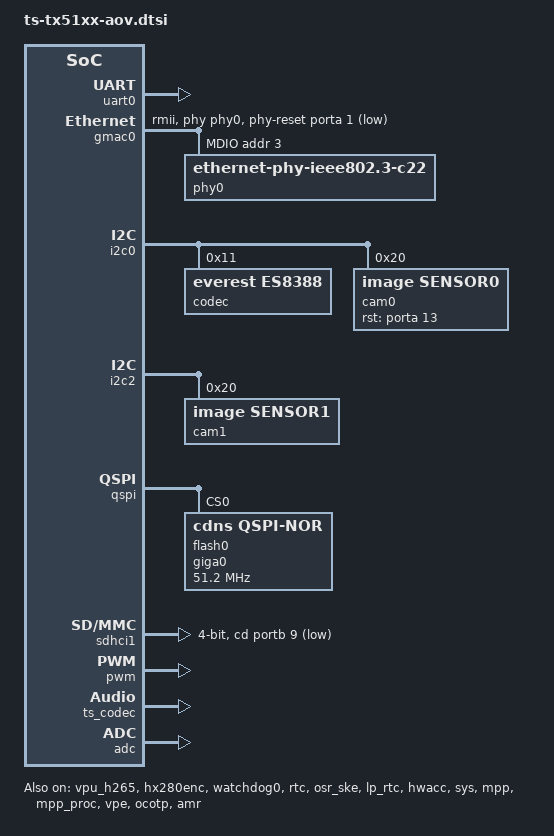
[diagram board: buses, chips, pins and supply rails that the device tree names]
// SPDX-License-Identifier: GPL-2.0+
/*
 * dts file for tsingmicro tx51xx
 *
 * Copyright 2022 Beijing Tsingmicro Intelligent Technology Co.,Ltd.
 *
 */

#include "ts-tx5112.dtsi"
#include "ts-tx5112-clk.dtsi"
#include "ts-tx5112-reset.dtsi"
#include "ts-tx51xx-aov-pinctrl.dtsi"

/ {
	chosen {
		/*bootargs = "console=ttyS0,115200n8 initrd=0xc4000000,4M init=/linuxrc
		 * root=/dev/ram0 rw rootfstype=ext4 rootwait ignore_loglevel earlycon";
		 */
		bootargs = "console=ttyS0,115200n8 earlycon";
		/*bootargs = "console=ttyS0,115200n8 ignore_loglevel";
		 *bootargs = "root=/dev/ram0 rw ramdisk=8192 initrd=0x41000000,8M
		 *console=ttyS0,115200n8 init=/linuxrc";
		 */
		stdout-path = "serial0:115200";
	};

	sound {
		status = "disabled";
		compatible = "ts-es8388,tx5112";
		model = "ts-audio-es8388";
		i2s-controller = <&i2s>;
		audio-codec = <&codec>;
		//codec-master;
	};

};

&systimer0_0 {
	status = "disabled";
};

&uart0 {
	status = "okay";
};

&uart1 {
	pinctrl-names = "default";
	pinctrl-0 = <&uart1_pinctrl>;
	status = "disabled";
};

&gpio0 {
	pinctrl-names = "default";
	pinctrl-0 = <&ir_cut_gpio_pinctrl>;
	status = "okay";
};

&gpio1 {
	pinctrl-names = "default";
	// pinctrl-0 = <&gpiob11_pinctrl>;
	status = "okay";
};

&gpio2 {
	status = "okay";
};

&usart0 {
	status = "disabled";
	pinctrl-names = "default";
	pinctrl-0 = <&usi0_pinctrl>;
};

#if 0


&usart1 {
	status = "disabled";
	pinctrl-names = "default";
	pinctrl-0 = <&usi1_pinctrl>;
};

&smu{
	status = "okay";
};

/*
 *&smmu {
 *	status = "disabled";
 *};
 */
#endif

&rne_dma {
	status = "okay";
};

&uspi0 {
	status = "disabled";
	#address-cells = <0x1>;
	#size-cells = <0x0>;
	pinctrl-names = "default";
	pinctrl-0 = <&usi0_pinctrl &gpiob7_pinctrl>;
	uspics-gpios = <&portb 7 GPIO_ACTIVE_HIGH>;
	uspi0_flash0:w25q64@00 {
		status = "okay";
		compatible = "winbond,w25q64","jedec,spi-nor";
		reg = <0>;
		spi-max-frequency = <8000000>;
		#address-cells = <1>;
		#size-cells = <1>;
		partition@usi2spi-test0{
			label = "test0";
			reg = <0x0 0x800000>; /* 8MB */
		};

	};
};

&gmac0 {
	status = "okay";
	phy-handle = <&phy0>;
	phy-mode = "rmii";
	pinctrl-names = "default";
	pinctrl-0 = <&mac0_pinctrl0>, <&mac0_pinctrl1>, <&mac0_pinctrl_clk>, <&mac0_rst_pinctrl>;
	phy-reset-gpios = <&porta 1 GPIO_ACTIVE_LOW>;
	mdio {
		#address-cells = <0x1>;
		#size-cells = <0x0>;
		phy0: phy@0 {
			compatible = "ethernet-phy-ieee802.3-c22";
			device_type = "ethernet-phy";
			reg = <0x3>;
		};
	};
};

&i2c0 {
	status = "okay";
	pinctrl-names = "default";
	pinctrl-0 = <&i2c0_pinctrl_0>;

	codec: es8388@11 {
		compatible = "everest,es8388";
		clocks = <&misc_clk>;
		reg = <0x11>;
	};

	cam0: imgsensor0@20 {
		compatible = "image,sensor0";
		reg = <0x20>;
		pinctrl-names = "default";
		pinctrl-0 = <&chip_out0_pinctrl>,<&gpioa13_pinctrl>;
		rst-gpios = <&porta 13 GPIO_ACTIVE_HIGH>;

		clocks = <&ts_clk TS_CLK_TX5112_CHIP_OCLK_I0>;
		clock-names = "mclk";
		assigned-clocks = <&ts_clk TS_CLK_TX5112_CHIP_OCLK_I0>;
		assigned-clock-rates = <24000000>;
	};
};

&i2c2 {
	status = "okay";
	pinctrl-names = "default";
	pinctrl-0 = <&i2c2_pinctrl>;

	cam1: imgsensor1@20 {
		compatible = "image,sensor1";
		reg = <0x20>;

		// pinctrl-names = "default";
		// pinctrl-0 = <&gpioa13_pinctrl>;
		// rst-gpios = <&porta 13 GPIO_ACTIVE_HIGH>;

		clocks = <&ts_clk TS_CLK_TX5112_CHIP_OCLK_I0>;
		clock-names = "mclk";
	};
};

&i2s {
	status = "disabled";
	dmas = <&dwahbdma1 0x5 2 1 &dwahbdma1 0x4 1 0>;
	dma-names = "tx", "rx";
	pinctrl-names = "default";
	pinctrl-0 = <&i2s_pinctrl_1>;
};

&ui2c0 {
	status = "disabled";
	pinctrl-names = "default";
	pinctrl-0 = <&usi0_pinctrl>;
	eeprom1: eeprom1@50 {
		compatible = "atmel,24c32";
		reg = <0x50>;
		pagesize = <32>;
	};
};

#if 0
&ui2c1 {
	status = "disabled";
	pinctrl-names = "default";
	pinctrl-0 = <&usi1_pinctrl>;
};


&i2c3 {
	status = "disabled";
};


&dp0 {
	status = "okay";
	port {
		dp0_output: endpoint {
			remote-endpoint = <&hdmi_virt_input>;
		};
	};
};
#endif

&i2c1 {
	status = "disabled";
	pinctrl-names = "default";
	pinctrl-0 = <&i2c1_pinctrl>;
};

&vpu_h265 {
	status = "okay";
	/*memory-region = <&vpu_reserved>;*/
};

&hx280enc {
	status = "okay";
};

&qspi {
	/* qspi and sdhci0 cannot coexist */
	status = "okay";
	page-size = <256>;
	block-size = <16>;
	#address-cells = <1>;
	#size-cells = <0>;

#if 0
	nand1:spi-nand@0 {
		status = "okay";
		compatible = "spi-nand";
		reg = <0>; /* CS0 */
		//spi-max-frequency = <40000000>;
		spi-max-frequency = <20000000>;
		page-size = <2048>;
		block-size = <131072>;
		spi-rx-bus-width = <4>;
		spi-tx-bus-width = <4>;
		cdns,read-delay = <0>;
		cdns,tshsl-ns = <0>;
		cdns,tsd2d-ns = <0>;
		cdns,tchsh-ns = <0>;
		cdns,tslch-ns = <0>;
		partitions {
			compatible = "fixed-partitions";
			#address-cells = <1>;
			#size-cells = <1>;

			/* reserved for future boot direct from NAND flash
			 * (this would use the same layout as the 8MiB NOR flash)
			 */
			partition@0 {
				label = "nand-boot-reserved";
				reg = <0 0x800000>;
			};

			/* recovery / install environment */
			partition@800000 {
				label = "recovery";
				reg = <0x800000 0x2000000>;
			};

			/* ubia (first OpenWrt) - a/b names to prevent confusion with ubi0/1/etc. */
			partition@2800000 {
				label = "ubia";
				reg = <0x2800000 0x3C00000>;
			};
#if 0
			/* ubib (second OpenWrt) */
			partition@6400000 {
				label = "ubib";
				reg = <0x6400000 0x3C00000>;
			};
#endif
		};
	};
#else
	flash0: giga0@0 {
		reg = <0>; /* CS0 */
		compatible = "cdns,qspi-nor";
		cdns,read-delay = <2>;
		cdns,tshsl-ns = <40>;
		cdns,tsd2d-ns = <50>;
		cdns,tchsh-ns = <3>;
		cdns,tslch-ns = <4>;
		spi-max-frequency = <51200000>;
		#address-cells = <1>;
		#size-cells = <1>;
		spi-rx-bus-width = <4>;
		spi-tx-bus-width = <4>;
	};
#endif
};


&sdhci0 {
	/* qspi and sdhci0 cannot coexist */
	status = "disabled";
	max-frequency = <25000000>;
	//no-1-8-v;
	//bus-width = <4>;
	//cap-sd-highspeed;
	pinctrl-names = "default";
	pinctrl-0 = <&emmc0_pinctrl>;
};

&sdhci1 {
	status = "okay";
	max-frequency = <25000000>;
	no-1-8-v;
	bus-width = <4>;
	cap-sd-highspeed;
	pinctrl-names = "default";
	pinctrl-0 = <&mshc1_pinctrl &emmc1_pinctrl>;
	card-detect-delay = <200>;
	cd-gpios = <&portb 9 GPIO_ACTIVE_LOW>;
};

&spi0 {
	status = "disabled";
	#address-cells = <1>;
	#size-cells = <0>;
	pinctrl-names = "default";
	pinctrl-0 = <&spi0_pinctrl &gpiob4_pinctrl>;
	cs-gpios = <&portb 4 GPIO_ACTIVE_LOW>;
	spi0_flash0: wnbnd0@0 {
		compatible = "jedec,spi-nor";
		spi-max-frequency = <400000>;
		reg = <0>;
		#address-cells = <1>;
		#size-cells = <1>;
		partition@spi-test0{
			label = "test0";
			reg = <0x0 0x800000>; /* 8MB */
		};
	};
};

&watchdog0 {
	status = "okay";
};

&pwm {
	status = "okay";
};

&rtc {
	status = "okay";
};

&osr_ske {
	status = "okay";
};

&lp_rtc {
	status = "okay";
};

&pinctrl {
	status = "okay";
	// init-function = "init";
};

&hwacc {
	status = "okay";
};

&dwahbdma0 {
	status = "okay";
};

&dwahbdma1 {
	status = "okay";
};

&dw_axi_dmac {
	status = "okay";
};

&pdmic {
	status = "disabled";
	pinctrl-names = "default";
	pinctrl-0 = <&pdmic_pinctrl_0>;
	ts,model = "PDMIC @ tsm-tx5215-fpga";
	ts,mic-min-freq = <1024000>;
	ts,mic-max-freq = <3072000>;
	ts,mic-offset = <0x0>;
	dmas = <&dwahbdma1 0x6 1 0>;
	dma-names = "rx";
};

&ts_codec {
	status = "okay";
	ts,model = "ts-codec";
	dmas = <&dwahbdma1 0xe 1 1 &dwahbdma1 0xd 1 0>;
	dma-names = "tx","rx";
	pinctrl-names = "default";
	pinctrl-0 = <&gpioa19_pinctrl>;
	speaker-gpios = <&porta 19 GPIO_ACTIVE_HIGH>;
};

&sys {
	status = "okay";
};

&mpp {
	status = "okay";
};

&mpp_proc {
	status = "okay";
};

&vpe {
	status = "okay";
};

&usb0 {
	status = "disabled";
	//pinctrl-names = "default";
	//pinctrl-0 = <&usb_pinctrl>;
	//drvvbus-gpios  = <&portb 11 GPIO_ACTIVE_HIGH>;
};

&irproc {
	status = "disabled";
};

&ocotp {
	status = "okay";
};

&adc {
	status = "okay";
};

&amr {
	status = "okay";
};
